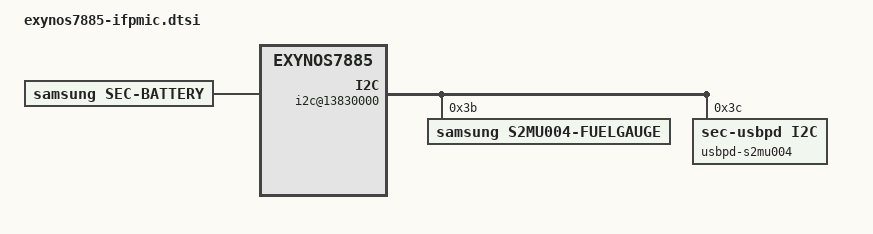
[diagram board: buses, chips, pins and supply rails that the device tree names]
/*
 * Copyright (c) 2016 Samsung Electronics Co., Ltd.
 *		http://www.samsung.com
 *
 * This program is free software; you can redistribute it and/or modify
 * it under the terms of the GNU General Public License version 2 as
 * published by the Free Software Foundation.
*/

/ {
	fragment@ifpmic {
		target-path = "/";
		__overlay__ {
		#address-cells = <2>;
		#size-cells = <1>;

			/* Bring the battery related code from dream2lte.dtsi */
			cable_info: cable-info {
				   default_input_current = <2000>;
				   default_charging_current = <2100>;
				   full_check_current_1st = <350>;
				   full_check_current_2nd = <150>;

				   current_group_1 {
			       cable_number = <1 4 19 21 22 23>;
			       input_current = <500>;
			       charging_current = <800>;
				   };
				   current_group_2 {
			       cable_number = <2 25>;
			       input_current = <1000>;
			       charging_current = <1000>;
				  };
				   current_group_3 {
			       cable_number = <5>;
			       input_current = <1500>;
			       charging_current = <1500>;
				  };
				   current_group_4 {
			       cable_number = <6 7 8>;
			       input_current = <1675>;
			       charging_current = <3000>;
				  };
				   current_group_5 {
			       cable_number = <9>;
			       input_current = <2000>;
			       charging_current = <3500>;
				  };
				   current_group_6 {
			       cable_number = <10 11 12 14 15 16>;
			       input_current = <900>;
			       charging_current = <2100>;
				  };
				   current_group_7 {
			       cable_number = <13>;
			       input_current = <700>;
			       charging_current = <2100>;
				  };
				   current_group_8 {
			       cable_number = <24>;
			       input_current = <1000>;
			       charging_current = <450>;
				  };
				   current_group_9 {
			       cable_number = <26>;
			       input_current = <2000>;
			       charging_current = <3000>;
				  };
			};

			pinctrl@11CB0000 {
				fuel_irq: fuel-irq {
					samsung,pins = "gpa2-4";
					samsung,pin-function = <0>;
					samsung,pin-pud = <2>;
					samsung,pin-drv = <0>;
				};

				if_pmic_irq: if-pmic-irq {
					samsung,pins = "gpa2-2";
					samsung,pin-function = <0>;
					samsung,pin-pud = <0>;
					samsung,pin-drv = <0>;
				};

				usbpd_irq: usbpd-irq {
					samsung,pins = "gpa2-3";
					samsung,pin-function = <0x0f>;
					samsung,pin-pud = <0>;
					samsung,pin-drv = <0>;
				};
			};

			i2c@13830000 {
				#address-cells = <1>;
				#size-cells = <0>;
				i2c-gpio,delay-us = <5>;
				status = "okay";
				s2mu004-fuelgauge@3B {
					compatible = "samsung,s2mu004-fuelgauge";
					reg = <0x3B>;
					pinctrl-names = "default";
					pinctrl-0 = <&fuel_irq>;
					fuelgauge,fuel_int = <&gpa2 4 0>;
					fuelgauge,fuel_alert_soc = <1>;
					fuelgauge,fuel_alert_vol = <3300>;
					fuelgauge,capacity_max = <1000>;
					fuelgauge,capacity_max_margin = <70>;
					fuelgauge,capacity_min = <0>;
					fuelgauge,capacity_calculation_type = <28>;
					fuelgauge,capacity_full = <2450>;
					fuelgauge,type_str = "SDI";
					fuelgauge,model_type = <1>;
				};

				usbpd-s2mu004@3C {
					compatible = "sec-usbpd,i2c";
					reg = <0x3C>;
					pinctrl-names = "default";
					pinctrl-0     = <&usbpd_irq>;
					usbpd,usbpd_int = <&gpa2 3 0>;
				};
			};

			pdic-manager {
				/* sink */
				pdic,max_power = <5000>;
				pdic,op_power = <2500>;
				pdic,max_voltage = <6000>;
				pdic,max_current = <2000>;
				ic,min_current = <500>;

				pdic,giveback = <0>;
				pdic,usb_com_capable = <1>;
				pdic,no_usb_suspend = <1>;

				/* source */
				source,max_voltage = <5000>;
				source,min_voltage = <4000>;
				source,max_power = <2500>;
			};

			battery_params {
					battery,battery_table3 = <229 11 77 11 180 10 30 10 160 9
								43 9 192 8 92 8 224 7 154 7
								62 7 228 6 168 6 124 6 90 6
								64 6 35 6 251 5 198 5 145 5
								69 5 168 1 244 8 132 8 21 8
								165 7 53 7 197 6 85 6 229 5
								118 5 6 5 150 4 38 4 182 3
								70 3 214 2 103 2 247 1 135 1
								23 1 167 0 55 0 200 15>;

					battery,battery_table4 = <69 69 69 69 67 68 66 67 67 65
								66 66 68 69 70 71 73 77 84 94
								112 212>;

					battery,batcap = <0xB0 0x36 0xAC 0x0D>; /* [0x0E] [0x0F] [0x10] [0x11] */
					battery,accum = <0x7 0xD8>; /* [0x45] [0x44] */

					battery,soc_arr_val = <11193 10647 10101 9555 9009 8462 7916 7370 6824 6278 5732 5185 4639 4093 3547 3001 2455 1909 1362 816 270 (-276)>;
					battery,ocv_arr_val = <44869 44124 43379 42645 42030 41459 40940 40447 39846 39501 39051 38615 38319 38107 37942 37814 37669 37478 37216 36958 36588 32070>;
			};

			battery {
				status = "okay";
				compatible = "samsung,sec-battery";

				pinctrl-names = "default";

				battery,vendor = "SDI SDI";
				battery,charger_name = "s2mu004-charger";
				battery,fuelgauge_name = "s2mu004-fuelgauge";
				battery,technology = <2>; /* POWER_SUPPLY_TECHNOLOGY_LION */

				battery,chip_vendor = "LSI";
				battery,temp_adc_type = <1>; /* SEC_BATTERY_ADC_TYPE_AP */

				battery,chg_temp_check = <0>;
				battery,slave_chg_temp_check = <0>;

				battery,polling_time = <10 30 30 30 3600>;

				battery,temp_table_adc = <288 348 403 483 549 645 734 882 1036 1200 1378 1645 1776 1907 1998 2030
										2259 2500 2715 2928 3113 3278 3381 3519 3616>;
				battery,temp_table_data = <900 850 800 750 700 650 600 550 500 450 400 350 320 290 270 250
										200 150 100 50 0 (-50) (-100) (-150) (-200)>;

				battery,input_current_limit = <1500 450 450 1500 500 900 1500 450 1000 450 900 900 900 1900 1500 450 450 400 700 1300 300 1000 1500 450 1650 2100 1000 1650 80 1800 1650 1400 1000 1000 700 900 900 900 500 2000 1600 3000>;
				battery,fast_charging_current = <1775 450 450 1775 800 1200 1500 450 1200 450 1775 1775 1775 1600 1775 450 450 400 700 1300 300 1000 1500 450 3000 3500 1000 3000 80 1800 1000 1775 450 1000 1675 1775 1775 1775 450 3000 3000 3000>;
				battery,full_check_current_1st = <150 0 0 150 150 150 150 150 150 0 150 150 150 150 150 0 0 150 150 150 150 150 150 0 150 150 150 150 0 150 150 150 0 150 150 150 150 150 150 150 150 150>;
				battery,full_check_current_2nd = <100 0 0 100 100 100 100 100 100 0 100 100 100 100 100 0 0 100 100 100 100 100 100 0 100 100 100 100 0 100 100 100 0 100 100 100 100 100 100 100 100 100>;

				battery,wireless_cc_cv = <85>;
				battery,inbat_voltage = <1>;

				battery,inbat_voltage_table_adc = <2869 2849 2819 2790 2759 2734 2703 2680 2649 2620
								2592 2561 2536 2503 2471 2443 2421 2391 2365 2333 2303>;
				battery,inbat_voltage_table_data = <4383 4352 4306 4253 4204 4152 4101 4056 4002 3954
								3903 3852 3801 3750 3702 3654 3601 3552 3503 3456 3402>;

				battery,adc_check_count = <5>;

				battery,cable_check_type = <4>; /* SEC_BATTERY_CABLE_CHECK_PSY */
				battery,cable_source_type = <1>; /* SEC_BATTERY_CABLE_SOURCE_EXTERNAL */
				battery,polling_type = <1>; /* SEC_BATTERY_MONITOR_ALARM */
				battery,monitor_initial_count = <0>;

				battery,battery_check_type = <0>; /* SEC_BATTERY_CHECK_NONE */
				battery,check_count = <0>;
				battery,check_adc_max = <1440>;
				battery,check_adc_min = <0>;

				battery,ovp_uvlo_check_type = <3>; /* SEC_BATTERY_OVP_UVLO_CHGPOLLING */

				battery,thermal_source = <2>; /* SEC_BATTERY_THERMAL_SOURCE_ADC */

				battery,temp_check_type = <2>; /* SEC_BATTERY_TEMP_CHECK_TEMP */
				battery,temp_check_count = <1>;
				battery,temp_highlimit_threshold_normal = <800>;
				battery,temp_highlimit_recovery_normal = <750>;
				battery,temp_high_threshold_normal = <500>;
				battery,temp_high_recovery_normal = <450>;
				battery,temp_low_threshold_normal = <0>;
				battery,temp_low_recovery_normal = <50>;
				battery,temp_highlimit_threshold_lpm = <800>;
				battery,temp_highlimit_recovery_lpm = <750>;
				battery,temp_high_threshold_lpm = <500>;
				battery,temp_high_recovery_lpm = <450>;
				battery,temp_low_threshold_lpm = <0>;
				battery,temp_low_recovery_lpm = <50>;

				battery,full_check_type = <2>; /* SEC_BATTERY_FULLCHARGED_FG_CURRENT */
				battery,full_check_type_2nd = <2>; /* SEC_BATTERY_FULLCHARGED_FG_CURRENT */
				battery,full_check_count = <1>;
				battery,chg_gpio_full_check = <0>;
				battery,chg_polarity_full_check = <1>;

				battery,chg_12v_high_temp = <615>;
				battery,chg_high_temp = <500>;
				battery,chg_high_temp_recovery = <495>;
				/* battery,chg_charging_limit_current = <1300>; */

				battery,wpc_high_temp = <460 495>;
				battery,wpc_high_temp_recovery = <459 400>;
				battery,wpc_charging_limit_current = <540 400>;
				battery,wpc_heat_temp_recovery = <360>;
				battery,wpc_lcd_on_high_temp = <470>;
				battery,wpc_lcd_on_high_temp_rec = <300>;
				battery,wpc_hv_lcd_on_input_limit_current = <400>;

				battery,sleep_mode_limit_current = <500>;
				battery,wc_full_input_limit_current = <100>;
				battery,wc_heating_input_limit_current = <400>;
				battery,wc_heating_time = <300>; /* 5 min */
				battery,wc_cv_current = <820>;
				battery,wc_cv_pack_current = <630>;

				battery,mix_high_temp = <420>;
				battery,mix_high_chg_temp = <500>;
				battery,mix_high_temp_recovery = <390>;

				/* SEC_BATTERY_FULL_CONDITION_SOC |
				   SEC_BATTERY_FULL_CONDITION_NOTIMEFULL |
				   SEC_BATTERY_FULL_CONDITION_VCELL */
				battery,full_condition_type = <13>;
				battery,full_condition_soc = <93>;
				battery,full_condition_vcell = <4250>;

				battery,recharge_check_count = <1>;
				battery,recharge_condition_type = <4>; /* SEC_BATTERY_RECHARGE_CONDITION_VCELL */
				battery,recharge_condition_soc = <98>;
				battery,recharge_condition_vcell = <4300>;

				battery,charging_total_time = <21600>;
				battery,recharging_total_time = <5400>;
				battery,charging_reset_time = <0>;

				battery,chg_float_voltage = <4350>;

				battery,swelling_high_temp_block = <410>;
				battery,swelling_high_temp_recov = <360>;
				battery,swelling_low_temp_block = <100>;
				battery,swelling_low_temp_recov = <150>;
				battery,swelling_low_temp_additional = <50>;

				battery,swelling_low_temp_current = <875>;	/* 0.5C */
				battery,swelling_low_temp_additional_current = <350>;	/* 0.2C */
				battery,swelling_low_temp_topoff = <150>;	/* 0.05C */
				battery,swelling_high_temp_current = <875>;	/* 0.7C */
				battery,swelling_high_temp_topoff = <150>;	/* 0.05C */

				battery,swelling_drop_float_voltage = <4150>;
				battery,swelling_high_rechg_voltage = <4100>;
				battery,swelling_low_rechg_voltage = <4000>;

				battery,self_discharging_temp_block = <600>;
				battery,self_discharging_volt_block = <4250>;
				battery,self_discharging_temp_recov = <550>;
				battery,self_discharging_temp_pollingtime = <400>;

				battery,siop_event_check_type = <1>;
				battery,siop_call_cv_current = <330>;
				battery,siop_call_cc_current = <330>;

				battery,siop_input_limit_current = <1200>;
				battery,siop_charging_limit_current = <1000>;
				battery,siop_hv_input_limit_current = <700>;
				battery,siop_hv_charging_limit_current = <1000>;
				battery,siop_hv_12v_input_limit_current = <535>;
				battery,siop_hv_12v_charging_limit_current = <1000>;

				battery,siop_wireless_input_limit_current = <600>;
				battery,siop_wireless_charging_limit_current = <1000>;
				battery,siop_hv_wireless_input_limit_current = <600>;
				battery,siop_hv_wireless_charging_limit_current = <1000>;

			battery,ttf_hv_12v_charge_current = <2350>;
				battery,ttf_hv_charge_current = <2200>;
				battery,ttf_hv_wireless_charge_current = <1500>;

				/* cycle, chg_float_voltage, recharge_condition_vcell, full_condition_vcell, full_condition_soc */
				battery,age_data = <0 43625 4312 4275 93
						300 43250 4275 4210 89
						500 42875 4237 4170 85>;

				/* values for using CONFIG_STEP_CHARGING */
				battery,step_charging_type = <0x5>;
				battery,step_charging_charge_power = <20000>;
				battery,step_charging_condtion = <4100 4400>;
				battery,step_charging_current = <4200 3000>;
				/* values for not using CONFIG_STEP_CHARGING */
				battery,base_charge_power = <7500>; /* mW */
				battery,max_charging_current = <2100>;
				battery,pd_current_efficiency = <100>;

				battery,max_input_voltage = <5000>; /* mV */
				battery,max_input_current = <1500>;  /* mA */

				battery,prepare_afc_delay = <0>;

				/* io-channels = <&exynos_adc 1>, <&exynos_adc 3>; */
				io-channel-names = "adc-temp", "adc-in-bat";
				#io-channel-cells = <5>;
				io-channel-ranges;
			};

			s2mu004-charger {
				status = "disable";
				compatible = "samsung,s2mu004-charger";
				battery,is_1MHz_switching = <1>;
				battery,chg_gpio_en = <0>;
				battery,chg_polarity_en = <0>;
				battery,chg_gpio_status = <0>;
				battery,chg_polarity_status = <0>;
			};
		};
	};
};
